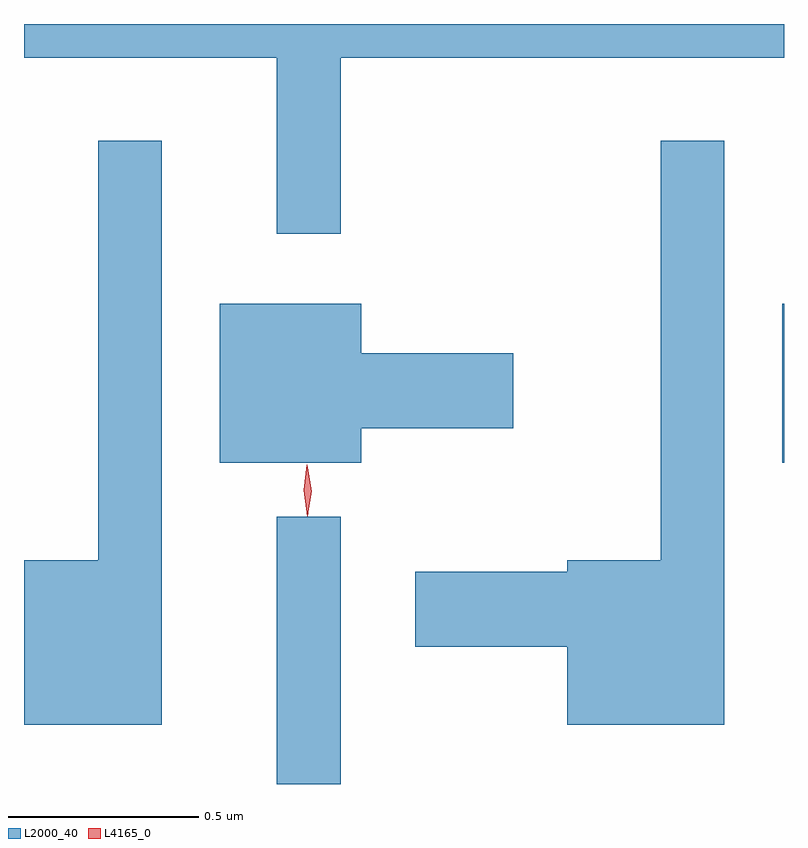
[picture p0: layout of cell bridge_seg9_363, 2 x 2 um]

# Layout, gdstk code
import gdstk
lib = gdstk.Library(unit=1e-6, precision=1e-09)
def R(c, l, rs):  # rectangles x0, y0, x1, y1
    for r in rs: c.add(gdstk.rectangle(r[:2], r[2:], *l))
def P(c, l, *ps):  # polygons
    for p in ps: c.add(gdstk.Polygon(p, *l))
L2000_40 = (2000, 40)
L4165_0 = (4165, 0)

bridge_seg9_363 = lib.new_cell('bridge_seg9_363')
R(bridge_seg9_363, L2000_40, [(727.721,1998.785,727.889,1999.488), (729.051,1999.631,729.056,2000.049)])
P(bridge_seg9_363, L2000_40, [(727.889,2000.696),(729.056,2000.696),(729.056,2000.785),(727.056,2000.785),(727.056,2000.696),(727.721,2000.696),(727.721,2000.233),(727.889,2000.233)],
  [(727.419,2000.478),(727.251,2000.478),(727.251,1999.374),(727.056,1999.374),(727.056,1998.941),(727.419,1998.941)],
  [(728.899,2000.478),(728.731,2000.478),(728.731,1999.374),(728.486,1999.374),(728.486,1999.344),(728.086,1999.344),(728.086,1999.146),(728.486,1999.146),(728.486,1998.941),(728.899,1998.941)],
  [(727.944,1999.721),(728.344,1999.721),(728.344,1999.919),(727.944,1999.919),(727.944,2000.049),(727.571,2000.049),(727.571,1999.631),(727.944,1999.631)])
P(bridge_seg9_363, L4165_0, [(727.802,1999.49),(727.792,1999.558),(727.8,1999.625),(727.801,1999.625),(727.802,1999.625),(727.812,1999.558),(727.803,1999.49),(727.803,1999.49)],
  [(727.802,1999.493),(727.793,1999.556),(727.802,1999.619),(727.803,1999.619),(727.803,1999.619),(727.813,1999.556),(727.803,1999.493),(727.803,1999.493)])

lib.write_gds('bridge_seg9_363.gds')
